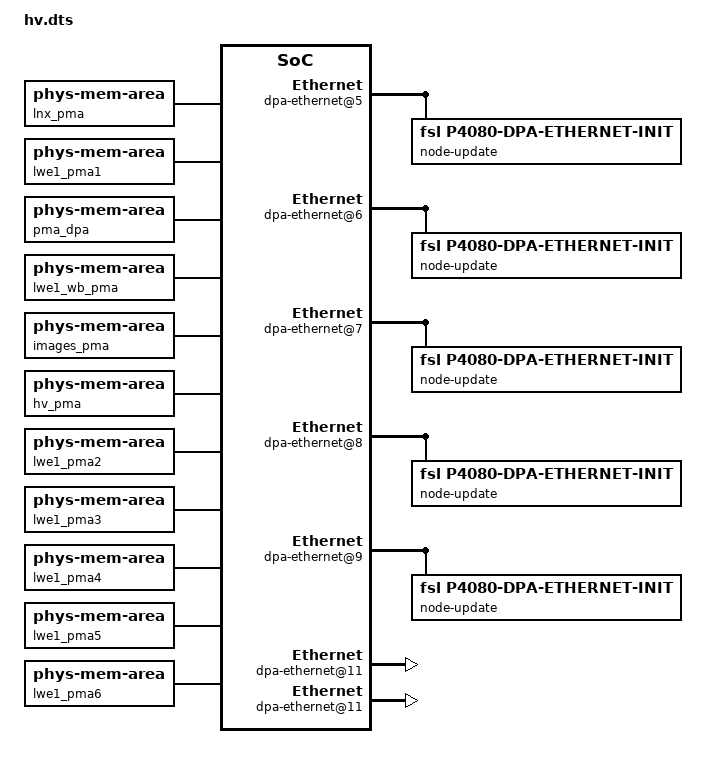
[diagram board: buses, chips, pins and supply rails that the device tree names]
/* Hypervisor Configuration tree containing all hypervisor configuration
 * parameters and partition definition information.
 * (Note -- Please refer to Hypervisor SW Reference Manual
 * (Chapter 5 Configuration) for further details)
 *
 * Copyright (c) 2010-2011, Freescale Semiconductor, Inc.
 */

/dts-v1/;

/ { 	// root node

	// The root node of the configuration device tree must contain a
	// compatible property that identifies the device tree as a hypervisor
	compatible = "fsl,hv-config";

	// =====================================================
	// Physical Memory Areas
	// =====================================================
	lnx_pma: lnx_pma {
		compatible = "phys-mem-area";
		addr = <0x0 0x00000000>;	// Linux
		size = <0x0 0x20000000>;	// 512MB
	};
	lwe1_pma1: lwe1_pma1 {
		compatible = "phys-mem-area";
		addr = <0x0 0x20000000>;	// LWE1
		size = <0x0 0x20000000>;	// 512MB
	};
	pma_dpa: pma_dpa {
		compatible = "phys-mem-area";
		addr = <0x0 0x70000000>;	// For DPA Ethernet frames
		size = <0x0 0x04000000>;	// 64MB
	};
	lwe1_wb_pma: lwe1_wb_pma {
		compatible = "phys-mem-area";
		addr = <0x0 0x74000000>;	// LWE1 Shared whiteboard
		size = <0x0 0x04000000>;	// 64MB
	};
	images_pma: images_pma {
		compatible = "phys-mem-area";
		addr = <0x0 0x78000000>;	// Used for boot-from-RAM
 		size = <0x0 0x04000000>;	// 64MB
 	};
	hv_pma: hv_pma {
		compatible = "phys-mem-area";
		addr = <0x0 0x7f000000>;	// Hypervisor
		size = <0x0 0x01000000>;	// 16MB
	};
	lwe1_pma2: lwe1_pma2 {
		compatible = "phys-mem-area";
		addr = <0x0 0x84000000>;	// LWE1
		size = <0x0 0x04000000>;	// 64MB
	};
	lwe1_pma3: lwe1_pma3 {
		compatible = "phys-mem-area";
		addr = <0x0 0x88000000>;	// LWE1
		size = <0x0 0x08000000>;	// 128MB
	};
	lwe1_pma4: lwe1_pma4 {
		compatible = "phys-mem-area";
		addr = <0x0 0x90000000>;	// LWE1
		size = <0x0 0x10000000>;	// 256MB
	};
	lwe1_pma5: lwe1_pma5 {
		compatible = "phys-mem-area";
		addr = <0x0 0xa0000000>;	// LWE1
		size = <0x0 0x20000000>;	// 512MB
	};
	lwe1_pma6: lwe1_pma6 {
		compatible = "phys-mem-area";
		addr = <0x0 0xc0000000>;	// LWE1
		size = <0x0 0x40000000>;	// 1GB
	};

	// =====================================================
	// DMA Windows
	// =====================================================
	dma-windows {
		dw_linux: dw_linux {
		// DMA window for part1_linux
			compatible = "dma-window";
			guest-addr = <0 0>;
			size = <0x1 0x00000000>; //4GB
			subwindow-count = <8>;
			sub-window@0 {
				compatible = "dma-subwindow";
				guest-addr = <0 0>;
				size = <0 0x20000000>; // 512MB
			};
			sub-window@1 {		// MSI sub-window
				compatible = "dma-subwindow";
				guest-addr = <0 0x20000000>;
				size = <0 0x20000000>; // 512MB
				pcie-msi-subwindow;
			};
			sub-window@2 {
				compatible = "dma-subwindow";
				guest-addr = <0x0 0xc0000000>;
				size = <0x0 0x04000000>;
			};
		};

//		dw_lwe1: window2 {		//For LWE partition
		
		// DMA window for LWE partition has sub-windows
                // This allows the definition of noncontiguous regions
                // of guest physical address space that are the valid
                // targets of DMA operations.
		dw_lwe1: dw_lwe1 {
		// For first LWE partition
			compatible = "dma-window";
			guest-addr = <0 0>;
			size = <0x1 0x00000000>;
			// Vaid values for subwindow-count are 2,4,8,16
                        // 10 sub-windows are defined for LWE
			subwindow-count = <16>;

			sub-window-main@0 {
				compatible = "dma-subwindow";
				guest-addr = <0 0>;
				size = <0x0 0x10000000>; //256MB
			};
			sub-window-main@1 {
				compatible = "dma-subwindow";
				guest-addr = <0 0x10000000>;
				size = <0x0 0x10000000>;
			};
			sub-window-main@2 {
				compatible = "dma-subwindow";
				guest-addr = <0 0x20000000>;
				size = <0x0 0x10000000>;
			};
			sub-window-main@3 {
				compatible = "dma-subwindow";
				guest-addr = <0 0x30000000>;
				size = <0x0 0x10000000>;
			};
			sub-window-main@4 {
				compatible = "dma-subwindow";
				guest-addr = <0 0x40000000>;
				size = <0x0 0x10000000>;
			};
			sub-window-main@5 {
				compatible = "dma-subwindow";
				guest-addr = <0 0x50000000>;
				size = <0x0 0x10000000>;
			};
			sub-window-main@6 {
				compatible = "dma-subwindow";
				guest-addr = <0 0x60000000>;
				size = <0x0 0x10000000>;
			};
			sub-window-main@7 {
				compatible = "dma-subwindow";
				guest-addr = <0 0x70000000>;
				size = <0x0 0x10000000>;
			};
			sub-window-main@8 {
				compatible = "dma-subwindow";
				guest-addr = <0 0x80000000>;
				size = <0x0 0x10000000>;
			};
			sub-window-main@9 {
				compatible = "dma-subwindow";
				guest-addr = <0 0x90000000>;
				size = <0x0 0x08000000>;
			};
			sub-window-main@10 {
				compatible = "dma-subwindow";
				guest-addr = <0 0xa0000000>;
				size = <0x0 0x04000000>;
			};

			sub-window-dpa {
				compatible = "dma-subwindow";
				guest-addr = <0x0 0xc0000000>;
				size = <0x0 0x04000000>;
			};
			sub-window-wb {
				compatible = "dma-subwindow";
				guest-addr = <0x0 0xd0000000>;
				size = <0x0 0x04000000>;
			};
		};
		dw_dqrr_qportal0: window3 {	// DMA window for stash_dqrr for qman-portal0
			compatible = "dma-window";
			guest-addr = <0xf 0xf4200000>;
			size = <0 0x4000>;
		};
		dw_dqrr_qportal1: window4 {	// DMA window for stash_dqrr for qman-portal1
			compatible = "dma-window";
			guest-addr = <0xf 0xf4204000>;
			size = <0 0x4000>;
		};
		dw_dqrr_qportal2: window5 {	// DMA window for stash_dqrr for qman-portal2
			compatible = "dma-window";
			guest-addr = <0xf 0xf4208000>;
			size = <0 0x4000>;
		};
		dw_dqrr_qportal3: window6 {	// DMA window for stash_dqrr for qman-portal3
			compatible = "dma-window";
			guest-addr = <0xf 0xf420c000>;
			size = <0 0x4000>;
		};
		dw_dqrr_qportal4: window7 {	// DMA window for stash_dqrr for qman-portal4
			compatible = "dma-window";
			guest-addr = <0xf 0xf4210000>;
			size = <0 0x4000>;
		};
		dw_dqrr_qportal5: window8 {	// DMA window for stash_dqrr for qman-portal5
			compatible = "dma-window";
			guest-addr = <0xf 0xf4214000>;
			size = <0 0x4000>;
		};
		dw_dqrr_qportal6: window9 {	// DMA window for stash_dqrr for qman-portal6
			compatible = "dma-window";
			guest-addr = <0xf 0xf4218000>;
			size = <0 0x4000>;
		};
		dw_dqrr_qportal7: window10 {	// DMA window for stash_dqrr for qman-portal7
			compatible = "dma-window";
			guest-addr = <0xf 0xf421c000>;
			size = <0 0x4000>;
		};
	};

	// =====================================================
	// HYPERVISOR CONFIGURATION
	// Hypervisor is also configured via the Hypervisor
	// configuration tree. A special node and subtree defines
	// set of global configuration parameters and a number of
	// device nodes assigning I/O devices to the hypervisor
	// =====================================================
	hv: hypervisor-config {
		compatible = "hv-config";
		// phandle to byte-channel used for hypervisor's console
		stdout = <&hvbc>;

		// Hypervisor private memory
		hv-memory {
			compatible = "hv-memory";
			phys-mem = <&hv_pma>;
		};

		// Device nodes given below are the physical I/O
		// devices assigned to hypervisor.

		// Global Utilities node
		guts {
			device = "/soc/global-utilities@e0000";
		};

		iommu {
			device = "/soc/iommu";
		};

		serial0: serial0 {
			device = "serial0";
		};

		serial1: serial1 {
			device = "serial1";
		};

		// MPIC - for interrupt configuration
		mpic {
			device = "/soc/pic@40000";
		};

		// CPC nodes assigend to hypervisor
		cpc {
			device = "/soc/l3-cache-controller";
		};

		corenet-law {
			device = "/soc/corenet-law";
		};

		corenet-cf {
			device = "/soc/corenet-cf";
		};

		rcpm {
			device = "/soc/global-utilities@e2000";
		};

		// Byte channel used as hypervisor's console
		hvbc: byte-channel {
			compatible = "byte-channel";
			endpoint = <&uartmux>;
			mux-channel = <0>;
		};
	};

	// =====================================================
	// UART mux
	// This node is referenced by byte-channels that use mux
	// as an endpoint
	// =====================================================
	uartmux: uartmux {
		compatible = "byte-channel-mux";
		endpoint = <&serial0>;
	};

	// =====================================================
	// To keep the scenarios hv-1/2/4p as diff-able as possible
	// we always use labels part1 and part2 for linux partitions and
	// part3 and part4 for LWE partitions.
	// In hv-2p scenario, there are 2 partitions - 1 Linux and 1 LWE
	// Partition1 --- part1 --- Linux partition
	// Partition2 --- part3 --- LWE partition
	// =====================================================

	// =====================================================
	// Partition 1 -- Linux Partition
	// =====================================================
	part1 {
		// Indicates that it is a partition node
		compatible = "partition";

		// Optional property which provides a readable label to the partition
		label = "p1-linux";

		// CPU #0 is assigned to this partition
		cpus = <0 1>;

		// Addr and size  of the guest image to be
		//loaded by hypervisor prior to the partition start.
		guest-image = <0xf 0xe8020000 0 0 0 0x700000>;

		// Addr and size of the linux-rootfs to be loaded by
		// hypervisor prior to partition start
		linux-rootfs = <0xf 0xe9300000 0 0x01300000 0 0x02800000>;

		dtb-window = <0 0x01000000 0 0x00012000>;

		// Temporary until Linux uses enable LIODN hcall
		no-dma-disable;

		flash {
			device = "/localbus";
		};

		// GPMA assigned to the partition
		gpma0 {
			compatible = "guest-phys-mem-area";
			phys-mem = <&lnx_pma>;
			guest-addr = <0 0>;
		};

		gpma1 {
			compatible = "guest-phys-mem-area";
			phys-mem = <&pma_dpa>;	// DPA Ethernet frames
			guest-addr = <0 0xc0000000>;
		};

		gpma2 {
			compatible = "guest-phys-mem-area";
			phys-mem = <&lwe1_wb_pma>;	//Whiteboard
			guest-addr = <0 0xd0000000>;
		};

		// partition node managed by this partition - part3
		partition@3 {
			compatible = "managed-partition";
			partition = <&part3>;
		};

		sfs1 {
			device = "simicsfs";
		};

		// Devices assigned to the partition - device nodes
		// device node is child of partition node and is used to
		// assign physical I/O devices to partitions

		// FMAN0 eth1 -- ethernet 1 assigned to this partition
		dpa-ethernet@1 {
			device = "/fsl,dpaa/ethernet@1";

			// Replaces the phandle property specified in hardware device tree in the
			// property fsl,qman-channel with phandle of qportal0 when providing the
			// node to partition's guest device tree
			node-update-phandle {
				fsl,qman-channel = <&qportal0>;
			};
		};

		// FMAN1 eth0 - 1G port
		// Initialization ownership of this ethernet port is with linux.
		// Used by LWE partition (part3)
		dpa-ethernet@5 {
			device = "/fsl,dpaa/ethernet@5";

			node-update {
				// Update the compatibility property to give initialization ownership to this partition
				compatible = "fsl,p4080-dpa-ethernet-init", "fsl,dpa-ethernet-init";
				// Delete prop fsl,qman-channel from the node
				delete-prop = "fsl,qman-channel";
				// Add property  fsl,qman-frame-queues-rx, fsl,qman-frame-queues-tx to node
				fsl,qman-frame-queues-rx = <0x60 1 0x61 1>;
				fsl,qman-frame-queues-tx = <0x62 1 0x63 1>;
			};

			// Update the phandle in the fsl,bman-buffer-pools property of the node.
			node-update-phandle {
				fsl,bman-buffer-pools = <&part1_bp7 &part1_bp8 &part1_bp9>;
			};
		};

		// FMAN1 eth1 - 1G port
		// Initialization ownership of this ethernet port is with linux.
		// Used by LWE partition (part3)
		dpa-ethernet@6 {
			device = "/fsl,dpaa/ethernet@6";

			node-update {
				// Update the compatibility property to give initialization ownership to this partition
				compatible = "fsl,p4080-dpa-ethernet-init", "fsl,dpa-ethernet-init";
				// Delete prop fsl,qman-channel from the node
				delete-prop = "fsl,qman-channel";
				// Add property  fsl,qman-frame-queues-rx, fsl,qman-frame-queues-tx to node
				fsl,qman-frame-queues-rx = <0x70 1 0x71 1>;
				fsl,qman-frame-queues-tx = <0x72 1 0x73 1>;
			};
			// Update the phandle in the fsl,bman-buffer-pools property of the node.
			node-update-phandle {
				fsl,bman-buffer-pools = <&part1_bp7 &part1_bp8 &part1_bp9>;
			};
		};

		// FMAN1 eth2 - 1G port
		// Initialization ownership of this ethernet port is with linux.
		// Used by LWE partition (part3)
		dpa-ethernet@7 {
			device = "/fsl,dpaa/ethernet@7";

			node-update {
				// Update the compatibility property to give initialization ownership to this partition
				compatible = "fsl,p4080-dpa-ethernet-init", "fsl,dpa-ethernet-init";
				// Delete prop fsl,qman-channel from the node
				delete-prop = "fsl,qman-channel";
				// Add property  fsl,qman-frame-queues-rx, fsl,qman-frame-queues-tx to node
				fsl,qman-frame-queues-rx = <0x30 1 0x31 1>;
				fsl,qman-frame-queues-tx = <0x32 1 0x33 1>;
			};
			// Update the phandle in the fsl,bman-buffer-pools property of the node.
			node-update-phandle {
				fsl,bman-buffer-pools = <&part1_bp7 &part1_bp8 &part1_bp9>;
			};
		};

		// FMAN1 eth3 - 1G port
		// Initialization ownership of this ethernet port is with linux.
		// Used by LWE partition (part3)
		dpa-ethernet@8 {
			device = "/fsl,dpaa/ethernet@8";

			node-update {
				// Update the compatibility property to give initialization ownership to this partition
				compatible = "fsl,p4080-dpa-ethernet-init", "fsl,dpa-ethernet-init";
				// Delete prop fsl,qman-channel from the node
				delete-prop = "fsl,qman-channel";
				// Add property  fsl,qman-frame-queues-rx, fsl,qman-frame-queues-tx to node
				fsl,qman-frame-queues-rx = <0x40 1 0x41 1>;
				fsl,qman-frame-queues-tx = <0x42 1 0x43 1>;
			};
			// Update the phandle in the fsl,bman-buffer-pools property of the node.
			node-update-phandle {
				fsl,bman-buffer-pools = <&part1_bp7 &part1_bp8 &part1_bp9>;
			};
		};

		// FMAN1 eth4 - 10G port
		// Initialization ownership of this ethernet port is with linux.
		// Used by LWE partition (part3)
		dpa-ethernet@9 {
			device = "/fsl,dpaa/ethernet@9";

			node-update {
				// Update the compatibility property to give initialization ownership to this partition
				compatible = "fsl,p4080-dpa-ethernet-init", "fsl,dpa-ethernet-init";
				// Delete prop fsl,qman-channel from the node
				delete-prop = "fsl,qman-channel";
				// Add property  fsl,qman-frame-queues-rx, fsl,qman-frame-queues-tx to node
				fsl,qman-frame-queues-rx = <0xd0 1 0xd1 1>;
				fsl,qman-frame-queues-tx = <0xd2 1 0xd3 1>;
			};
			// Update the phandle in the fsl,bman-buffer-pools property of the node.
			node-update-phandle {
				fsl,bman-buffer-pools = <&part1_bp13 &part1_bp14 &part1_bp15>;
			};
		};

		// BMAN portal
		bman-portal@0 {
			device = "/bman-portals/bman-portal@0";
			// The index of the virtual CPU within the assigned partition
			// to which the device is associated.
			vcpu = <0>;
		};

		buffer-pool@0 {
			device = "/bman-portals/buffer-pool@0";
		};

		node-update {
			// Add buffer pools 1 to 9 to the root node of guest device tree(GDT)
			// The nodes would be added as specified below to the GDT
			buffer-pool@1 {
				compatible = "fsl,p4080-bpool", "fsl,bpool";
				fsl,bpid = <1>;
			};
			buffer-pool@2 {
				compatible = "fsl,p4080-bpool", "fsl,bpool";
				fsl,bpid = <2>;
			};
			buffer-pool@3 {
				compatible = "fsl,p4080-bpool", "fsl,bpool";
				fsl,bpid = <3>;
			};
			buffer-pool@4 {
				compatible = "fsl,p4080-bpool", "fsl,bpool";
				fsl,bpid = <4>;
			};
			buffer-pool@5 {
				compatible = "fsl,p4080-bpool", "fsl,bpool";
				fsl,bpid = <5>;
			};
			buffer-pool@6 {
				compatible = "fsl,p4080-bpool", "fsl,bpool";
				fsl,bpid = <6>;
			};
			part1_bp7: buffer-pool@7 {
				compatible = "fsl,p4080-bpool", "fsl,bpool";
				fsl,bpid = <7>;
				fsl,bpool-cfg = <0 0x2000 0 192 0 0xC0000000>;
			};
			part1_bp8: buffer-pool@8 {
				compatible = "fsl,p4080-bpool", "fsl,bpool";
				fsl,bpid = <8>;
				fsl,bpool-cfg = <0 0x1000 0 576 0 0xC1E00000>;
			};
			part1_bp9: buffer-pool@9 {
				compatible = "fsl,p4080-bpool", "fsl,bpool";
				fsl,bpid = <9>;
				fsl,bpool-cfg = <0 0x1000 0 1600 0 0xC2700000>;
			};
			part1_bp13: buffer-pool@13 {
				compatible = "fsl,p4080-bpool", "fsl,bpool";
				fsl,bpid = <13>;
				fsl,bpool-cfg = <0 0x2000 0 192 0 0xC0F00000>;
			};
			part1_bp14: buffer-pool@14 {
				compatible = "fsl,p4080-bpool", "fsl,bpool";
				fsl,bpid = <14>;
				fsl,bpool-cfg = <0 0x1000 0 576 0 0xC2280000>;
			};
			part1_bp15: buffer-pool@15 {
				compatible = "fsl,p4080-bpool", "fsl,bpool";
				fsl,bpid = <15>;
				fsl,bpool-cfg = <0 0x1000 0 1600 0 0xC3380000>;
			};

			// Add a subnode dpa-ethernet@11 for linking with LWE in fsl,dpaa node in GDT.
			fsl,dpaa {
				dpa-ethernet@11 {	// Link with LWE
					compatible = "fsl,p4080-dpa-ethernet", "fsl,dpa-ethernet";
					fsl,qman-frame-queues-rx = <0x4010 8>;
					fsl,qman-frame-queues-tx = <0x4018 8>;
					local-mac-address = [02 00 c0 a8 83 fe];
				};
			};
		};

		// Add properties with phandle values to the node dpa-ethernet@11
		node-update-phandle {
			fsl,dpaa {
				dpa-ethernet@11 {
					fsl,qman-channel = <&part1_qpool2>;
					fsl,bman-buffer-pools = <&part1_bp7 &part1_bp13 &part1_bp8 &part1_bp14 &part1_bp9 &part1_bp15>;
				};
			};
		};

		portal-devices {
			fman0 {
				device = "fman0";
				dma-window = <&dw_linux>;
			};
			fman1 {
				device = "fman1";
				dma-window = <&dw_linux>;
			};
			caam {
				device = "crypto";
				dma-window = <&dw_linux>;
			};
			pme {
				device = "pme";
				dma-window = <&dw_linux>;
			};
		};

		// Qman portal 0 associated with virtual cpu 0
		qportal0: qman-portal@0 {
			device = "/qman-portals/qman-portal@0";
			vcpu = <0>;

			stash-mem {
				liodn-index = <1>;
				dma-window = <&dw_linux>;
				operation-mapping = <0>;	// OMI_QMAN
				stash-dest = <1>;
			};

			stash-dqrr {
				liodn-index = <0>;
				dma-window = <&dw_dqrr_qportal0>;
				operation-mapping = <0>;	// OMI_QMAN
				stash-dest = <1>;
				snoop-cpu-only;
			};

			//Update the phandle values in fsl,qman-pool-channels property in qman_portal node in GDT
			node-update-phandle {
				fsl,qman-pool-channels = <&part1_qpool1 &part1_qpool2
							  &part1_qpool3 &part1_qpool4
							  &part1_qpool5 &part1_qpool6
							  &part1_qpool7 &part1_qpool8>;
			};
		};

		// QMAN Pools
		part1_qpool1: qman-pool@1 {
			device = "/qman-portals/qman-pool@1";
		};
		part1_qpool2: qman-pool@2 {
			device = "/qman-portals/qman-pool@2";
		};
		part1_qpool3: qman-pool@3 {
			device = "/qman-portals/qman-pool@3";
		};
		part1_qpool4: qman-pool@4 {
			device = "/qman-portals/qman-pool@4";
		};
		part1_qpool5: qman-pool@5 {
			device = "/qman-portals/qman-pool@5";
		};
		part1_qpool6: qman-pool@6 {
			device = "/qman-portals/qman-pool@6";
		};
		part1_qpool7: qman-pool@7 {
			device = "/qman-portals/qman-pool@7";
		};
		part1_qpool8: qman-pool@8 {
			device = "/qman-portals/qman-pool@8";
		};

		memory-controller@8000 {
			device = "/soc/memory-controller@8000";
		};
		memory-controller@9000 {
			device = "/soc/memory-controller@9000";
		};

		dma0 {
			device = "dma0";
			// The property will be passed to all descendents of the dma device in
			// hardware device tree
			dma-window = <&dw_linux>;
		};
		dma1 {
			device = "dma1";
			// The property will be passed to all descendents of the dma device in
			// hardware device tree
			dma-window = <&dw_linux>;
		};

		i2c@118000 {
			device = "/soc/i2c@118000";
		};
		i2c@118100 {
			device = "/soc/i2c@118100";
		};
		i2c@119000 {
			device = "/soc/i2c@119000";
		};
		i2c@119100 {
			device = "/soc/i2c@119100";
		};

		usb0 {
			device = "usb0";
			dma-window = <&dw_linux>;
		};
		usb1 {
			device = "usb1";
			dma-window = <&dw_linux>;
		};

		serial2: serial2 {
			device = "serial2";
		};
		serial3 {
			device = "serial3";
		};

		sdhc {
			device = "sdhc";
			dma-window = <&dw_linux>;
		};

		crypto {
			device = "crypto";
			dma-window = <&dw_linux>;
		};

		snvs {
			device = "snvs";
		};

		pme {
			device = "pme";
			dma-window = <&dw_linux>;
		};

		qman {
			device = "qman";
			dma-window = <&dw_linux>;
			operation-mapping = <2>;	// OMI_QMAN_PRIV
			stash-dest = <3>;		// L3/CPC
		};

		bman {
			device = "bman";
			dma-window = <&dw_linux>;
		};

		gpio {
			device = "/soc/gpio";
		};

		fman0 {
			device = "fman0";
			dma-window = <&dw_linux>;
		};

		// This partition has no FMAN port assigned to it.
		// Hence delete the liodn property from all the ports.
		fman1 {
			device = "fman1";
			dma-window = <&dw_linux>;

			node-update {
				port@88000 {
					delete-prop = "fsl,liodn";
				};
				port@89000 {
					delete-prop = "fsl,liodn";
				};
				port@8a000 {
					delete-prop = "fsl,liodn";
				};
				port@8b000 {
					delete-prop = "fsl,liodn";
				};
				port@90000 {
					delete-prop = "fsl,liodn";
				};
			};
		};

		// Update the stdout property with the byte channel handle
		aliases {
			stdout = <&part1_bc0>;
		};

		// Byte channel used for stdout interface attached to mux-channel 1
		part1_bc0: byte-channel@0 {
			compatible = "byte-channel";
			endpoint = <&uartmux>;
			mux-channel = <1>;
		};
		msi0 {
                        device = "msi0";
                };
		pci0 {
			device = "pci0";
			map-ranges;
			dma-window = <&dw_linux>;
		};
		msi2 {
			device = "msi2";
		};

		pci2 {
			device = "pci2";
			map-ranges;
			dma-window = <&dw_linux>;
		};
	};

	// =====================================================
	// Partition 3 -- LWE Partition
	// =====================================================
	part3: part3 {
		// Indicates that it is a partition node
		compatible = "partition";

		// Optional property which provides a readable label to the partition
		label = "p3-lwe";

		 // CPU #1 to 7 are assigned to this partition
		cpus = <1 7>;

		// -1 specified in the dest address so that while loading LWE image,
		// hypervisor picks up the load address from the ELF image itself.
		guest-image = <0xf 0xe8a00000 0xffffffff 0xffffffff 0 0x300000>;

		dtb-window = <0 0x40000 0 0x40000>;

		// partition is not to be started by hypervisor.
		no-auto-start;

		//notify manager partition in case of watchdog expiry
		watchdog-timeout = "manager-notify";

		// Temporary until LWE uses enable LIODN hcall
		no-dma-disable;

		// GPMAs assigned to the partition -- Guest Phyical of LWE contigous from 0 to 0x98000000
		gpma0 {
			compatible = "guest-phys-mem-area";
			phys-mem = <&lwe1_pma1>;
			guest-addr = <0 0>;
		};
		gpma1 {
			compatible = "guest-phys-mem-area";
			phys-mem = <&lwe1_pma5>;
			guest-addr = <0 0x20000000>;
		};
		gpma2 {
			compatible = "guest-phys-mem-area";
			phys-mem = <&lwe1_pma6>;
			guest-addr = <0 0x40000000>;
		};
		gpma3 {
			compatible = "guest-phys-mem-area";
			phys-mem = <&lwe1_pma4>;
			guest-addr = <0 0x80000000>;
		};
		gpma4 {
			compatible = "guest-phys-mem-area";
			phys-mem = <&lwe1_pma3>;
			guest-addr = <0 0x90000000>;
		};

		/* The gpma5 is discontigous in guest Physical */
		gpma5 {
			compatible = "guest-phys-mem-area";
			phys-mem = <&lwe1_pma2>;
			guest-addr = <0 0xa0000000>;
		};
		gpma6 {
			compatible = "guest-phys-mem-area";
			phys-mem = <&pma_dpa>;	// DPA Ethernet frames
			guest-addr = <0 0xc0000000>;
		};
		gpma7 {
			compatible = "guest-phys-mem-area";
			phys-mem = <&lwe1_wb_pma>;
			guest-addr = <0 0xd0000000>;
		};
		
		// Aliases node added to GDT of LWE partition.
		// has the stdout property fro various VCPUs
		aliases {
			stdout_vcpu0 = <&part3_bc0>;
			stdout_vcpu1 = <&part3_bc1>;
			stdout_vcpu2 = <&part3_bc2>;
			stdout_vcpu3 = <&part3_bc3>;
			stdout_vcpu4 = <&part3_bc4>;
			stdout_vcpu5 = <&part3_bc5>;
			stdout_vcpu6 = <&part3_bc6>;

			// Unified console handle. This would be used for the
			// vcpu for which the property stdout_vcpu<num> is not present
			stdout =  <&part3_bc0>;
		};

		// Byte channel used as stdout interface for virtual CPU 0
		part3_bc0: byte-channel@3 {
			compatible = "byte-channel";
			endpoint = <&uartmux>;
			mux-channel = <3>;
			node-update {
				prepend-stringlist = "compatible", "fsl,lwe-stdout";
				vcpu = <0>;
			};
		};

		// Byte channel used as stdout interface for virtual CPU 1
		part3_bc1: byte-channel@4 {
			compatible = "byte-channel";
			endpoint = <&uartmux>;
			mux-channel = <4>;
			node-update {
				prepend-stringlist = "compatible", "fsl,lwe-stdout";
				vcpu = <1>;
			};
		};

		// Byte channel used as stdout interface for virtual CPU 2
		part3_bc2: byte-channel@5 {
			compatible = "byte-channel";
			endpoint = <&uartmux>;
			mux-channel = <5>;
			node-update {
				prepend-stringlist = "compatible", "fsl,lwe-stdout";
				vcpu = <2>;
			};
		};

		// Byte channel used as stdout interface for virtual CPU 3
		part3_bc3: byte-channel@6 {
			compatible = "byte-channel";
			endpoint = <&uartmux>;
			mux-channel = <6>;
			node-update {
				prepend-stringlist = "compatible", "fsl,lwe-stdout";
				vcpu = <3>;
			};
		};

		// Byte channel used as stdout interface for virtual CPU 4
		part3_bc4: byte-channel@7 {
			compatible = "byte-channel";
			endpoint = <&uartmux>;
			mux-channel = <7>;
			node-update {
				prepend-stringlist = "compatible", "fsl,lwe-stdout";
				vcpu = <4>;
			};
		};

		// Byte channel used as stdout interface for virtual CPU 5
		part3_bc5: byte-channel@8 {
			compatible = "byte-channel";
			endpoint = <&uartmux>;
			mux-channel = <8>;
			node-update {
				prepend-stringlist = "compatible", "fsl,lwe-stdout";
				vcpu = <5>;
			};
		};

		// Byte channel used as stdout interface for virtual CPU 6
		part3_bc6: byte-channel@9 {
			compatible = "byte-channel";
			endpoint = <&uartmux>;
			mux-channel = <9>;
			node-update {
				prepend-stringlist = "compatible", "fsl,lwe-stdout";
				vcpu = <6>;
			};
		};

		// BMAN portal assigned to virtual cpu 0
		bman-portal@4000 {
			device = "/bman-portals/bman-portal@4000";

			vcpu = <0>;
		};
		// BMAN portal assigned to virtual cpu 1
		bman-portal@8000 {
			device = "/bman-portals/bman-portal@8000";

			vcpu = <1>;
		};
		// BMAN portal assigned to virtual cpu 2
		bman-portal@c000 {
			device = "/bman-portals/bman-portal@c000";

			vcpu = <2>;
		};
		// BMAN portal assigned to virtual cpu 3
		bman-portal@10000 {
			device = "/bman-portals/bman-portal@10000";

			vcpu = <3>;
		};
		// BMAN portal assigned to virtual cpu 4
		bman-portal@14000 {
			device = "/bman-portals/bman-portal@14000";

			vcpu = <4>;
		};
		// BMAN portal assigned to virtual cpu 5
		bman-portal@18000 {
			device = "/bman-portals/bman-portal@18000";

			vcpu = <5>;
		};
		// BMAN portal assigned to virtual cpu 6
		bman-portal@1c000 {
			device = "/bman-portals/bman-portal@1c000";

			vcpu = <6>;
		};

		node-update {
			// Add 6 buffer pools to the root node of guest device tree(GDT)
			part3_bp7: buffer-pool@7 {
				compatible = "fsl,p4080-bpool", "fsl,bpool";
				fsl,bpid = <7>;
				fsl,bpool-cfg = <0 0x2000 0 192 0 0xC0000000>;
			};
			part3_bp8: buffer-pool@8 {
				compatible = "fsl,p4080-bpool", "fsl,bpool";
				fsl,bpid = <8>;
				fsl,bpool-cfg = <0 0x1000 0 576 0 0xC1E00000>;
			};
			part3_bp9: buffer-pool@9 {
				compatible = "fsl,p4080-bpool", "fsl,bpool";
				fsl,bpid = <9>;
				fsl,bpool-cfg = <0 0x1000 0 1600 0 0xC2700000>;
			};
			part3_bp13: buffer-pool@13 {
				compatible = "fsl,p4080-bpool", "fsl,bpool";
				fsl,bpid = <13>;
				fsl,bpool-cfg = <0 0x2000 0 192 0 0xC0F00000>;
			};
			part3_bp14: buffer-pool@14 {
				compatible = "fsl,p4080-bpool", "fsl,bpool";
				fsl,bpid = <14>;
				fsl,bpool-cfg = <0 0x1000 0 576 0 0xC2280000>;
			};
			part3_bp15: buffer-pool@15 {
				compatible = "fsl,p4080-bpool", "fsl,bpool";
				fsl,bpid = <15>;
				fsl,bpool-cfg = <0 0x1000 0 1600 0 0xC3380000>;
			};

			// Add a subnode dpa-ethernet@11 for linking with Linux in fsl,dpaa node in GDT
			fsl,dpaa {
				dpa-ethernet@11 {	// Link with Linux
					compatible = "fsl,p4080-dpa-ethernet", "fsl,dpa-ethernet";
					fsl,qman-frame-queues-rx = <0x4018 8>;
					fsl,qman-frame-queues-tx = <0x4010 8>;
					local-mac-address = [02 00 c0 a8 97 fe];
				};
			};

			// Add a chosen node with bootargs property to the root of GDT
			// coreamsk specifies tha mask of cpus on which the LWE application
			// would actually be running on.
			chosen {
				bootargs = "coremask=0x7f";
			};
		};

		// Add properties with phandle values to the node dpa-ethernet@11
		node-update-phandle {
			fsl,dpaa {
				dpa-ethernet@11 {
					fsl,qman-channel = <&part3_qpool9>;
					fsl,bman-buffer-pools = <&part3_bp7 &part3_bp13 &part3_bp8 &part3_bp14 &part3_bp9 &part3_bp15>;
				};
			};
		};

		portal-devices {
			fman0 {
				device = "fman0";
				dma-window = <&dw_lwe1>;
			};
			fman1 {
				device = "fman1";
				dma-window = <&dw_lwe1>;
			};
			caam {
				device = "crypto";
				dma-window = <&dw_lwe1>;
			};
			pme {
				device = "pme";
				dma-window = <&dw_lwe1>;
			};
		};

		//Qman portal associated with virtual cpu 0
		qman-portal@4000 {
			device = "/qman-portals/qman-portal@4000";
			vcpu = <0>;

			stash-mem {
				liodn-index = <1>;
				dma-window = <&dw_lwe1>;
				operation-mapping = <0>;	// OMI_QMAN
				stash-dest = <1>;
			};

			stash-dqrr {
				liodn-index = <0>;
				dma-window = <&dw_dqrr_qportal1>;
				operation-mapping = <0>;	// OMI_QMAN
				stash-dest = <1>;
				snoop-cpu-only;
			};

			node-update-phandle {
				fsl,qman-pool-channels = <&part3_qpool9	 &part3_qpool10
							  &part3_qpool11 &part3_qpool12
							  &part3_qpool13 &part3_qpool14
							  &part3_qpool15>;
			};
		};

		//Qman portal associated with virtual cpu 1
		qman-portal@8000 {
			device = "/qman-portals/qman-portal@8000";
			vcpu = <1>;

			stash-mem {
				liodn-index = <1>;
				dma-window = <&dw_lwe1>;
				operation-mapping = <0>;	// OMI_QMAN
				stash-dest = <1>;
			};

			stash-dqrr {
				liodn-index = <0>;
				dma-window = <&dw_dqrr_qportal2>;
				operation-mapping = <0>;	// OMI_QMAN
				stash-dest = <1>;
				snoop-cpu-only;
			};

			node-update-phandle {
				fsl,qman-pool-channels = <&part3_qpool9	 &part3_qpool10
							  &part3_qpool11 &part3_qpool12
							  &part3_qpool13 &part3_qpool14
							  &part3_qpool15>;
			};
		};

		//Qman portal associated with virtual cpu 2
		qman-portal@c000 {
			device = "/qman-portals/qman-portal@c000";
			vcpu = <2>;

			stash-mem {
				liodn-index = <1>;
				dma-window = <&dw_lwe1>;
				operation-mapping = <0>;	// OMI_QMAN
				stash-dest = <1>;
			};

			stash-dqrr {
				liodn-index = <0>;
				dma-window = <&dw_dqrr_qportal3>;
				operation-mapping = <0>;	// OMI_QMAN
				stash-dest = <1>;
				snoop-cpu-only;
			};

			node-update-phandle {
				fsl,qman-pool-channels = <&part3_qpool9	 &part3_qpool10
							  &part3_qpool11 &part3_qpool12
							  &part3_qpool13 &part3_qpool14
							  &part3_qpool15>;
			};
		};

		//Qman portal associated with virtual cpu 3
		qman-portal@10000 {
			device = "/qman-portals/qman-portal@10000";
			vcpu = <3>;

			stash-mem {
				liodn-index = <1>;
				dma-window = <&dw_lwe1>;
				operation-mapping = <0>;	// OMI_QMAN
				stash-dest = <1>;
			};

			stash-dqrr {
				liodn-index = <0>;
				dma-window = <&dw_dqrr_qportal4>;
				operation-mapping = <0>;	// OMI_QMAN
				stash-dest = <1>;
				snoop-cpu-only;
			};

			node-update-phandle {
				fsl,qman-pool-channels = <&part3_qpool9	 &part3_qpool10
							  &part3_qpool11 &part3_qpool12
							  &part3_qpool13 &part3_qpool14
							  &part3_qpool15>;
			};
		};

		//Qman portal associated with virtual cpu 4
		qman-portal@14000 {
			device = "/qman-portals/qman-portal@14000";
			vcpu = <4>;

			stash-mem {
				liodn-index = <1>;
				dma-window = <&dw_lwe1>;
				operation-mapping = <0>;	// OMI_QMAN
				stash-dest = <1>;
			};

			stash-dqrr {
				liodn-index = <0>;
				dma-window = <&dw_dqrr_qportal5>;
				operation-mapping = <0>;	// OMI_QMAN
				stash-dest = <1>;
				snoop-cpu-only;
			};

			node-update-phandle {
				fsl,qman-pool-channels = <&part3_qpool9	 &part3_qpool10
							  &part3_qpool11 &part3_qpool12
							  &part3_qpool13 &part3_qpool14
							  &part3_qpool15>;
			};
		};

		//Qman portal associated with virtual cpu 5
		qman-portal@18000 {
			device = "/qman-portals/qman-portal@18000";
			vcpu = <5>;

			stash-mem {
				liodn-index = <1>;
				dma-window = <&dw_lwe1>;
				operation-mapping = <0>;	// OMI_QMAN
				stash-dest = <1>;
			};

			stash-dqrr {
				liodn-index = <0>;
				dma-window = <&dw_dqrr_qportal6>;
				operation-mapping = <0>;	// OMI_QMAN
				stash-dest = <1>;
				snoop-cpu-only;
			};

			node-update-phandle {
				fsl,qman-pool-channels = <&part3_qpool9	 &part3_qpool10
							  &part3_qpool11 &part3_qpool12
							  &part3_qpool13 &part3_qpool14
							  &part3_qpool15>;
			};
		};

		//Qman portal associated with virtual cpu 6
		qman-portal@1c000 {
			device = "/qman-portals/qman-portal@1c000";
			vcpu = <6>;

			stash-mem {
				liodn-index = <1>;
				dma-window = <&dw_lwe1>;
				operation-mapping = <0>;	// OMI_QMAN
				stash-dest = <1>;
			};

			stash-dqrr {
				liodn-index = <0>;
				dma-window = <&dw_dqrr_qportal7>;
				operation-mapping = <0>;	// OMI_QMAN
				stash-dest = <1>;
				snoop-cpu-only;
			};

			node-update-phandle {
				fsl,qman-pool-channels = <&part3_qpool9	 &part3_qpool10
							  &part3_qpool11 &part3_qpool12
							  &part3_qpool13 &part3_qpool14
							  &part3_qpool15>;
			};
		};

		// QMAN pools
		part3_qpool9: qman-pool@9 {
			device = "/qman-portals/qman-pool@9";
		};
		part3_qpool10: qman-pool@10 {
			device = "/qman-portals/qman-pool@10";
		};
		part3_qpool11: qman-pool@11 {
			device = "/qman-portals/qman-pool@11";
		};
		part3_qpool12: qman-pool@12 {
			device = "/qman-portals/qman-pool@12";
		};
		part3_qpool13: qman-pool@13 {
			device = "/qman-portals/qman-pool@13";
		};
		part3_qpool14: qman-pool@14 {
			device = "/qman-portals/qman-pool@14";
		};
		part3_qpool15: qman-pool@15 {
			device = "/qman-portals/qman-pool@15";
		};

		// FMAN1 eth0 -- 1 G port assigned to the partition
		dpa-ethernet@5 {
			device = "/fsl,dpaa/ethernet@5";

			// Add property  fsl,qman-frame-queues-rx,  fsl,qman-frame-queues-tx
			// to the  /fsl,dpaa/ethernet@5 from hardware device tree
			node-update {
				fsl,qman-frame-queues-rx = <0x60 1 0x61 1 0x1000 32>;
				fsl,qman-frame-queues-tx = <0x62 1 0x63 1 0x68 8>;
			};

			//Update the phandle in the properties
			node-update-phandle {
				fsl,qman-channel = <&part3_qpool9>;
				fsl,bman-buffer-pools = <&part3_bp7 &part3_bp8 &part3_bp9>;
			};
		};
		fman1_port@88000 {
			device = "fman1_rx0";
			dma-window = <&dw_lwe1>;
		};
		fman1_port@a8000 {
			device = "/soc/fman@500000/port@a8000";
		};
		fman1_ethernet@e0000 {
			device = "ethernet5";
			node-update {
				delete-prop = "phy-handle";
				fixed-link = <5 1 1000 0 0>;
			};
		};

		// FMAN1 eth1 -- 1 G port assigned to the partition
		dpa-ethernet@6 {
			device = "/fsl,dpaa/ethernet@6";

			// Add property  fsl,qman-frame-queues-rx,  fsl,qman-frame-queues-tx
			// to the  /fsl,dpaa/ethernet@6 from hardware device tree
			node-update {
				fsl,qman-frame-queues-rx = <0x70 1 0x71 1 0x1400 32>;
				fsl,qman-frame-queues-tx = <0x72 1 0x73 1 0x78 8>;
			};

			//Update the phandle in the properties
			node-update-phandle {
				fsl,qman-channel = <&part3_qpool9>;
				fsl,bman-buffer-pools = <&part3_bp7 &part3_bp8 &part3_bp9>;
			};
		};
		fman1_port@89000 {
			device = "fman1_rx1";
			dma-window = <&dw_lwe1>;
		};
		fman1_port@a9000 {
			device = "/soc/fman@500000/port@a9000";
		};
		fman1_ethernet@e2000 {
			device = "ethernet6";
			node-update {
				delete-prop = "phy-handle";
				fixed-link = <6 1 1000 0 0>;
			};
		};

		// FMAN1 eth2 -- 1 G port assigned to the partition
		dpa-ethernet@7 {
			device = "/fsl,dpaa/ethernet@7";

			// Add property  fsl,qman-frame-queues-rx,  fsl,qman-frame-queues-tx
			// to the  /fsl,dpaa/ethernet@7 from hardware device tree
			node-update {
				fsl,qman-frame-queues-rx = <0x30 1 0x31 1 0x1800 32>;
				fsl,qman-frame-queues-tx = <0x32 1 0x33 1 0x38 8>;
			};

			//Update the phandle in the properties
			node-update-phandle {
				fsl,qman-channel = <&part3_qpool9>;
				fsl,bman-buffer-pools = <&part3_bp7 &part3_bp8 &part3_bp9>;
			};
		};
		fman1_port@8a000 {
			device = "fman1_rx2";
			dma-window = <&dw_lwe1>;
		};
		fman1_port@aa000 {
			device = "/soc/fman@500000/port@aa000";
		};
		fman1_ethernet@e4000 {
			device = "ethernet7";
			node-update {
				delete-prop = "phy-handle";
				fixed-link = <7 1 1000 0 0>;
			};
		};
		// FMAN1 eth3 -- 1 G port assigned to the partition
		dpa-ethernet@8 {
			device = "/fsl,dpaa/ethernet@8";

			// Add property  fsl,qman-frame-queues-rx,  fsl,qman-frame-queues-tx
			// to the  /fsl,dpaa/ethernet@8 from hardware device tree
			node-update {
				fsl,qman-frame-queues-rx = <0x40 1 0x41 1 0x1c00 32>;
				fsl,qman-frame-queues-tx = <0x42 1 0x43 1 0x48 8>;
			};

			//Update the phandle in the properties
			node-update-phandle {
				fsl,qman-channel = <&part3_qpool9>;
				fsl,bman-buffer-pools = <&part3_bp7 &part3_bp8 &part3_bp9>;
			};
		};
		fman1_port@8b000 {
			device = "fman1_rx3";
			dma-window = <&dw_lwe1>;
		};
		fman1_port@ab000 {
			device = "/soc/fman@500000/port@ab000";
		};
		fman1_ethernet@e6000 {
			device = "ethernet8";
			node-update {
				delete-prop = "phy-handle";
				fixed-link = <8 1 1000 0 0>;
			};
		};

		// FMAN1 eth4 -- 10 G port assigned to the partition
		dpa-ethernet@9 {
			device = "/fsl,dpaa/ethernet@9";

			// Add property  fsl,qman-frame-queues-rx,  fsl,qman-frame-queues-tx
			// to the  /fsl,dpaa/ethernet@9 from hardware device tree
			node-update {
				fsl,qman-frame-queues-rx = <0xd0 1 0xd1 1 0x2400 32>;
				fsl,qman-frame-queues-tx = <0xd2 1 0xd3 1 0xd8 8>;
			};

			//Update the phandle in the properties
			node-update-phandle {
				fsl,qman-channel = <&part3_qpool9>;
				fsl,bman-buffer-pools = <&part3_bp13 &part3_bp14 &part3_bp15>;
			};
		};
		// Add rx port of fman1 eth4
		fman1_port@90000 {
			device = "fman1_rx4";
			dma-window = <&dw_lwe1>;
		};

		// Add tx port of fman1 eth4
		fman1_port@b0000 {
			device = "/soc/fman@500000/port@b0000";
		};

		// Add device ethernet9 referenced by dpa-ethernet@9 -  fman1 eth4
		fman1_ethernet@f0000 {
			device = "ethernet9";
			node-update {
				delete-prop = "phy-handle";
				fixed-link = <9 1 10000 0 0>;
			};
		};
	};
};
